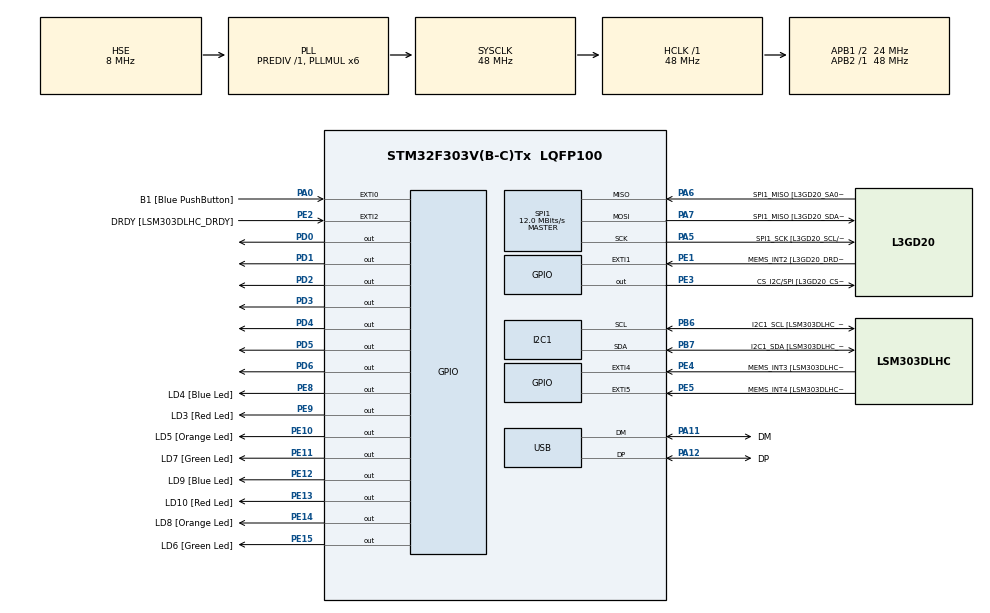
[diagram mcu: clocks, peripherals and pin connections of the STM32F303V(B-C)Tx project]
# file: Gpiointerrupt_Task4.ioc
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I2C1.Timing=0x2000090E
I2C1.Timing-I2C=0x2000090E
Mcu.Family=STM32F3
Mcu.Name=STM32F303V(B-C)Tx
Mcu.Package=LQFP100
NVIC.EXTI0_IRQn=true\:0\:0\:false\:false\:true\:true\:true\:true
NVIC.PriorityGroup=NVIC_PRIORITYGROUP_0
PA0.GPIO_Label=B1 [Blue PushButton]
PA0.GPIO_ModeDefaultEXTI=GPIO_MODE_IT_FALLING
PA0.Signal=GPXTI0
PA11.GPIO_Label=DM
PA11.Mode=Device
PA11.Signal=USB_DM
PA12.GPIO_Label=DP
PA12.Mode=Device
PA12.Signal=USB_DP
PA13.GPIO_Label=SWDIO
PA13.Mode=Serial_Wire
PA13.Signal=SYS_JTMS-SWDIO
PA14.GPIO_Label=SWCLK
PA14.Mode=Serial_Wire
PA14.Signal=SYS_JTCK-SWCLK
PA5.GPIO_Label=SPI1_SCK [L3GD20_SCL/SPC]
PA5.Mode=Full_Duplex_Master
PA5.Signal=SPI1_SCK
PA6.GPIO_Label=SPI1_MISO [L3GD20_SA0/SDO]
PA6.Mode=Full_Duplex_Master
PA6.Signal=SPI1_MISO
PA7.GPIO_Label=SPI1_MISO [L3GD20_SDA/SDI/SDO]
PA7.Mode=Full_Duplex_Master
PA7.Signal=SPI1_MOSI
PB3.GPIO_Label=SWO
PB3.Signal=SYS_JTDO-TRACESWO
PB6.GPIO_Label=I2C1_SCL [LSM303DLHC_SCL]
PB6.GPIO_Pu=GPIO_PULLUP
PB6.Mode=I2C
PB6.Signal=I2C1_SCL
PB7.GPIO_Label=I2C1_SDA [LSM303DLHC_SDA]
PB7.GPIO_Pu=GPIO_PULLUP
PB7.Mode=I2C
PB7.Signal=I2C1_SDA
PC14-OSC32_IN.GPIO_Label=OSC32_IN
PC14-OSC32_IN.Signal=RCC_OSC32_IN
PC15-OSC32_OUT.GPIO_Label=OSC32_OUT
PC15-OSC32_OUT.Signal=RCC_OSC32_OUT
PD0.Signal=GPIO_Output
PD1.Signal=GPIO_Output
PD2.Signal=GPIO_Output
PD3.Signal=GPIO_Output
PD4.Signal=GPIO_Output
PD5.Signal=GPIO_Output
PD6.Signal=GPIO_Output
PE1.GPIO_Label=MEMS_INT2 [L3GD20_DRDY/INT2]
PE1.GPIO_ModeDefaultEXTI=GPIO_MODE_EVT_RISING
PE1.Signal=GPXTI1
PE10.GPIO_Label=LD5 [Orange Led]
PE10.Signal=GPIO_Output
PE11.GPIO_Label=LD7 [Green Led]
PE11.Signal=GPIO_Output
PE12.GPIO_Label=LD9 [Blue Led]
PE12.Signal=GPIO_Output
PE13.GPIO_Label=LD10 [Red Led]
PE13.Signal=GPIO_Output
PE14.GPIO_Label=LD8 [Orange Led]
PE14.Signal=GPIO_Output
PE15.GPIO_Label=LD6 [Green Led]
PE15.Signal=GPIO_Output
PE2.GPIO_Label=DRDY [LSM303DLHC_DRDY]
PE2.GPIO_ModeDefaultEXTI=GPIO_MODE_EVT_RISING
PE2.Signal=GPXTI2
PE3.GPIO_Label=CS_I2C/SPI [L3GD20_CS_I2C/SPI]
PE3.Signal=GPIO_Output
PE4.GPIO_Label=MEMS_INT3 [LSM303DLHC_INT1]
PE4.GPIO_ModeDefaultEXTI=GPIO_MODE_EVT_RISING
PE4.Signal=GPXTI4
PE5.GPIO_Label=MEMS_INT4 [LSM303DLHC_INT2]
PE5.GPIO_ModeDefaultEXTI=GPIO_MODE_EVT_RISING
PE5.Signal=GPXTI5
PE8.GPIO_Label=LD4 [Blue Led]
PE8.Signal=GPIO_Output
PE9.GPIO_Label=LD3 [Red Led]
PE9.Signal=GPIO_Output
PF0-OSC_IN.GPIO_Label=OSC_IN
PF0-OSC_IN.Mode=HSE-External-Clock-Source
PF0-OSC_IN.Signal=RCC_OSC_IN
PF1-OSC_OUT.GPIO_Label=OSC_OUT
PF1-OSC_OUT.Signal=RCC_OSC_OUT
ProjectManager.HeapSize=0x200
ProjectManager.StackSize=0x400
ProjectManager.TargetToolchain=CMake
RCC.AHBFreq_Value=48000000
RCC.APB1CLKDivider=RCC_HCLK_DIV2
RCC.APB1Freq_Value=24000000
RCC.APB1TimFreq_Value=48000000
RCC.APB2Freq_Value=48000000
RCC.APB2TimFreq_Value=48000000
RCC.CortexFreq_Value=48000000
RCC.HCLKFreq_Value=48000000
RCC.HSE_VALUE=8000000
RCC.HSI_VALUE=8000000
RCC.LSE_VALUE=32768
RCC.PLLMUL=RCC_PLL_MUL6
RCC.SYSCLKFreq_VALUE=48000000
RCC.SYSCLKSourceVirtual=RCC_SYSCLKSOURCE_PLLCLK
RCC.USBFreq_Value=48000000
SPI1.BaudRatePrescaler=SPI_BAUDRATEPRESCALER_4
SPI1.BaudRatePrescaler-Full_Duplex_Master=SPI_BAUDRATEPRESCALER_2
SPI1.CalculateBaudRate=12.0 MBits/s
SPI1.CalculateBaudRate-Full_Duplex_Master=24.0 MBits/s
SPI1.Direction=SPI_DIRECTION_2LINES
SPI1.Mode=SPI_MODE_MASTER
SPI1.Mode-Full_Duplex_Master=SPI_MODE_MASTER
SPI1.VirtualType=VM_MASTER
board=STM32F3DISCOVERY

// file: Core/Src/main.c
/* USER CODE BEGIN Header */
/**
  ******************************************************************************
  * @file           : main.c
  * @brief          : Main program body
  ******************************************************************************
  * @attention
  *
  * Copyright (c) 2025 STMicroelectronics.
  * All rights reserved.
  *
  * This software is licensed under terms that can be found in the LICENSE file
  * in the root directory of this software component.
  * If no LICENSE file comes with this software, it is provided AS-IS.
  *
  ******************************************************************************
  */
/* USER CODE END Header */
#include "main.h"
#include <stdlib.h>

/* USER CODE BEGIN Includes */
#define COMMON_ANODE 0

/* USER CODE END Includes */

/* USER CODE BEGIN PD */
const uint8_t segment_map[10] = {0xC0, 0xF9, 0xA4, 0xB0, 0x99, 0x92, 0x82, 0xF8, 0x80, 0x90};
/* USER CODE END PD */

I2C_HandleTypeDef hi2c1;

SPI_HandleTypeDef hspi1;

PCD_HandleTypeDef hpcd_USB_FS;

void SystemClock_Config(void);
static void MX_GPIO_Init(void);
static void MX_I2C1_Init(void);
static void MX_SPI1_Init(void);
static void MX_USB_PCD_Init(void);

/* USER CODE BEGIN 0 */
void Display_Number(uint8_t num) {
  uint8_t data = segment_map[num];
  #if COMMON_ANODE
      data = ~data;
  #endif
    for (uint8_t i = 0; i < 7; i++) {
        HAL_GPIO_WritePin(GPIOD, (1 << i), (data >> i) & 0x01);
    }
}

/* USER CODE END 0 */

int main(void)
{

  /* MCU Configuration--------------------------------------------------------*/

  /* Reset of all peripherals, Initializes the Flash interface and the Systick. */
  HAL_Init();

  /* Configure the system clock */
  SystemClock_Config();

  /* Initialize all configured peripherals */
  MX_GPIO_Init();
  MX_I2C1_Init();
  MX_SPI1_Init();
  MX_USB_PCD_Init();

  /* Infinite loop */
  while (1)
  {

  }
}

void SystemClock_Config(void)
{
  RCC_OscInitTypeDef RCC_OscInitStruct = {0};
  RCC_ClkInitTypeDef RCC_ClkInitStruct = {0};
  RCC_PeriphCLKInitTypeDef PeriphClkInit = {0};

  /** Initializes the RCC Oscillators according to the specified parameters
  * in the RCC_OscInitTypeDef structure.
  */
  RCC_OscInitStruct.OscillatorType = RCC_OSCILLATORTYPE_HSI|RCC_OSCILLATORTYPE_HSE;
  RCC_OscInitStruct.HSEState = RCC_HSE_BYPASS;
  RCC_OscInitStruct.HSEPredivValue = RCC_HSE_PREDIV_DIV1;
  RCC_OscInitStruct.HSIState = RCC_HSI_ON;
  RCC_OscInitStruct.HSICalibrationValue = RCC_HSICALIBRATION_DEFAULT;
  RCC_OscInitStruct.PLL.PLLState = RCC_PLL_ON;
  RCC_OscInitStruct.PLL.PLLSource = RCC_PLLSOURCE_HSE;
  RCC_OscInitStruct.PLL.PLLMUL = RCC_PLL_MUL6;
  if (HAL_RCC_OscConfig(&RCC_OscInitStruct) != HAL_OK)
  {
    Error_Handler();
  }

  /** Initializes the CPU, AHB and APB buses clocks
  */
  RCC_ClkInitStruct.ClockType = RCC_CLOCKTYPE_HCLK|RCC_CLOCKTYPE_SYSCLK
                              |RCC_CLOCKTYPE_PCLK1|RCC_CLOCKTYPE_PCLK2;
  RCC_ClkInitStruct.SYSCLKSource = RCC_SYSCLKSOURCE_PLLCLK;
  RCC_ClkInitStruct.AHBCLKDivider = RCC_SYSCLK_DIV1;
  RCC_ClkInitStruct.APB1CLKDivider = RCC_HCLK_DIV2;
  RCC_ClkInitStruct.APB2CLKDivider = RCC_HCLK_DIV1;

  if (HAL_RCC_ClockConfig(&RCC_ClkInitStruct, FLASH_LATENCY_1) != HAL_OK)
  {
    Error_Handler();
  }
  PeriphClkInit.PeriphClockSelection = RCC_PERIPHCLK_USB|RCC_PERIPHCLK_I2C1;
  PeriphClkInit.I2c1ClockSelection = RCC_I2C1CLKSOURCE_HSI;
  PeriphClkInit.USBClockSelection = RCC_USBCLKSOURCE_PLL;
  if (HAL_RCCEx_PeriphCLKConfig(&PeriphClkInit) != HAL_OK)
  {
    Error_Handler();
  }
}

static void MX_I2C1_Init(void)
{

  hi2c1.Instance = I2C1;
  hi2c1.Init.Timing = 0x2000090E;
  hi2c1.Init.OwnAddress1 = 0;
  hi2c1.Init.AddressingMode = I2C_ADDRESSINGMODE_7BIT;
  hi2c1.Init.DualAddressMode = I2C_DUALADDRESS_DISABLE;
  hi2c1.Init.OwnAddress2 = 0;
  hi2c1.Init.OwnAddress2Masks = I2C_OA2_NOMASK;
  hi2c1.Init.GeneralCallMode = I2C_GENERALCALL_DISABLE;
  hi2c1.Init.NoStretchMode = I2C_NOSTRETCH_DISABLE;
  if (HAL_I2C_Init(&hi2c1) != HAL_OK)
  {
    Error_Handler();
  }

  /** Configure Analogue filter
  */
  if (HAL_I2CEx_ConfigAnalogFilter(&hi2c1, I2C_ANALOGFILTER_ENABLE) != HAL_OK)
  {
    Error_Handler();
  }

  /** Configure Digital filter
  */
  if (HAL_I2CEx_ConfigDigitalFilter(&hi2c1, 0) != HAL_OK)
  {
    Error_Handler();
  }

}

static void MX_SPI1_Init(void)
{

  /* SPI1 parameter configuration*/
  hspi1.Instance = SPI1;
  hspi1.Init.Mode = SPI_MODE_MASTER;
  hspi1.Init.Direction = SPI_DIRECTION_2LINES;
  hspi1.Init.DataSize = SPI_DATASIZE_4BIT;
  hspi1.Init.CLKPolarity = SPI_POLARITY_LOW;
  hspi1.Init.CLKPhase = SPI_PHASE_1EDGE;
  hspi1.Init.NSS = SPI_NSS_SOFT;
  hspi1.Init.BaudRatePrescaler = SPI_BAUDRATEPRESCALER_4;
  hspi1.Init.FirstBit = SPI_FIRSTBIT_MSB;
  hspi1.Init.TIMode = SPI_TIMODE_DISABLE;
  hspi1.Init.CRCCalculation = SPI_CRCCALCULATION_DISABLE;
  hspi1.Init.CRCPolynomial = 7;
  hspi1.Init.CRCLength = SPI_CRC_LENGTH_DATASIZE;
  hspi1.Init.NSSPMode = SPI_NSS_PULSE_ENABLE;
  if (HAL_SPI_Init(&hspi1) != HAL_OK)
  {
    Error_Handler();
  }

}

static void MX_USB_PCD_Init(void)
{

  hpcd_USB_FS.Instance = USB;
  hpcd_USB_FS.Init.dev_endpoints = 8;
  hpcd_USB_FS.Init.speed = PCD_SPEED_FULL;
  hpcd_USB_FS.Init.phy_itface = PCD_PHY_EMBEDDED;
  hpcd_USB_FS.Init.low_power_enable = DISABLE;
  hpcd_USB_FS.Init.battery_charging_enable = DISABLE;
  if (HAL_PCD_Init(&hpcd_USB_FS) != HAL_OK)
  {
    Error_Handler();
  }

}

static void MX_GPIO_Init(void)
{
  GPIO_InitTypeDef GPIO_InitStruct = {0};

  /* GPIO Ports Clock Enable */
  __HAL_RCC_GPIOE_CLK_ENABLE();
  __HAL_RCC_GPIOC_CLK_ENABLE();
  __HAL_RCC_GPIOF_CLK_ENABLE();
  __HAL_RCC_GPIOA_CLK_ENABLE();
  __HAL_RCC_GPIOD_CLK_ENABLE();
  __HAL_RCC_GPIOB_CLK_ENABLE();

  /*Configure GPIO pin Output Level */
  HAL_GPIO_WritePin(GPIOE, CS_I2C_SPI_Pin|LD4_Pin|LD3_Pin|LD5_Pin
                          |LD7_Pin|LD9_Pin|LD10_Pin|LD8_Pin
                          |LD6_Pin, GPIO_PIN_RESET);

  /*Configure GPIO pin Output Level */
  HAL_GPIO_WritePin(GPIOD, GPIO_PIN_0|GPIO_PIN_1|GPIO_PIN_2|GPIO_PIN_3
                          |GPIO_PIN_4|GPIO_PIN_5|GPIO_PIN_6, GPIO_PIN_RESET);

  /*Configure GPIO pins : DRDY_Pin MEMS_INT3_Pin MEMS_INT4_Pin MEMS_INT2_Pin */
  GPIO_InitStruct.Pin = DRDY_Pin|MEMS_INT3_Pin|MEMS_INT4_Pin|MEMS_INT2_Pin;
  GPIO_InitStruct.Mode = GPIO_MODE_EVT_RISING;
  GPIO_InitStruct.Pull = GPIO_NOPULL;
  HAL_GPIO_Init(GPIOE, &GPIO_InitStruct);

  /*Configure GPIO pins : CS_I2C_SPI_Pin LD4_Pin LD3_Pin LD5_Pin
                           LD7_Pin LD9_Pin LD10_Pin LD8_Pin
                           LD6_Pin */
  GPIO_InitStruct.Pin = CS_I2C_SPI_Pin|LD4_Pin|LD3_Pin|LD5_Pin
                          |LD7_Pin|LD9_Pin|LD10_Pin|LD8_Pin
                          |LD6_Pin;
  GPIO_InitStruct.Mode = GPIO_MODE_OUTPUT_PP;
  GPIO_InitStruct.Pull = GPIO_NOPULL;
  GPIO_InitStruct.Speed = GPIO_SPEED_FREQ_LOW;
  HAL_GPIO_Init(GPIOE, &GPIO_InitStruct);

  /*Configure GPIO pin : B1_Pin */
  GPIO_InitStruct.Pin = B1_Pin;
  GPIO_InitStruct.Mode = GPIO_MODE_IT_FALLING;
  GPIO_InitStruct.Pull = GPIO_NOPULL;
  HAL_GPIO_Init(B1_GPIO_Port, &GPIO_InitStruct);

  /*Configure GPIO pins : PD0 PD1 PD2 PD3
                           PD4 PD5 PD6 */
  GPIO_InitStruct.Pin = GPIO_PIN_0|GPIO_PIN_1|GPIO_PIN_2|GPIO_PIN_3
                          |GPIO_PIN_4|GPIO_PIN_5|GPIO_PIN_6;
  GPIO_InitStruct.Mode = GPIO_MODE_OUTPUT_PP;
  GPIO_InitStruct.Pull = GPIO_NOPULL;
  GPIO_InitStruct.Speed = GPIO_SPEED_FREQ_LOW;
  HAL_GPIO_Init(GPIOD, &GPIO_InitStruct);

  /* EXTI interrupt init*/
  HAL_NVIC_SetPriority(EXTI0_IRQn, 0, 0);
  HAL_NVIC_EnableIRQ(EXTI0_IRQn);

}

/* USER CODE BEGIN 4 */
void HAL_GPIO_EXTI_Callback(uint16_t GPIO_Pin)
{
  if(GPIO_Pin == GPIO_PIN_0) {
    int randNum = rand() % 6 + 1;
    Display_Number(randNum);

  } else {
      __NOP();
}
}
/* USER CODE END 4 */

void Error_Handler(void)
{
  __disable_irq();
  while (1)
  {
  }
}
